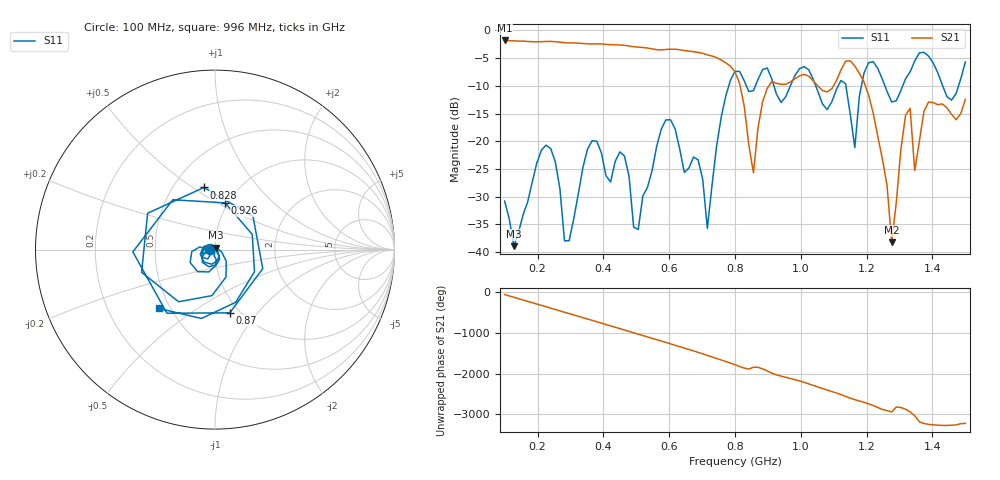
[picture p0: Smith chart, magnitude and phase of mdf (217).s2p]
! NanoVNA-App
! Date: 2025-09-25 15:40:07
! Start: 100MHz Stop: 1,5GHz Points: 101
! S-Parameter data: F S11 S21 S12 S22
# Hz S RI R 50
!  Frequency  S11_Real  S11_Imag  S21_Real  S21_Imag  S12_Real  S12_Imag  S22_Real  S22_Imag
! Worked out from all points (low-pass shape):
!   101 points, 100 MHz to 1.5 GHz, reference 50 ohm
!   highest |S21| = -1.80 dB at 100 MHz (marker M1); lowest = -38.2 dB at 1.276 GHz (marker M2)
!   |S21| within 3 dB of the highest: start of sweep to 739.2 MHz
!   lowest |S11| = -38.9 dB at 128 MHz (marker M3), VSWR 1.02, Z = 50.3 + j1.08 ohm
!   |S11| at or under -10 dB: start of sweep to 781.1 MHz; 918.3 MHz to 968.2 MHz (49.86 MHz wide, 5.29 % of centre); 1.045 GHz to 1.114 GHz (68.29 MHz wide, 6.33 % of centre) (the widest 3 of 7)
!   S12 and S22 are empty: the file has one direction only
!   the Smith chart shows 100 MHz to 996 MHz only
!   S11 on the Smith chart (normalised r, x): 100 MHz: 0.94, -0.01; 828 MHz: 0.70, +0.56; 870 MHz: 0.90, -0.73; 926 MHz: 0.97, +0.54; 996 MHz: 0.43, -0.36
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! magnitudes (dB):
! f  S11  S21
! 100 MHz  -30.8  -1.8
! 128 MHz  -38.9  -1.9
! 212 MHz  -21.6  -2.0
! 282 MHz  -38.0  -2.2
! 338 MHz  -24.7  -2.3
! 464 MHz  -22.6  -2.7
! 506 MHz  -35.9  -3.0
! 576 MHz  -17.8  -3.5
! 716 MHz  -35.7  -4.4
! 800 MHz  -7.4  -7.5
! 828 MHz  -9.1  -13.7
! 856 MHz  -10.9  -25.7
! 870 MHz  -8.8  -17.5
! 926 MHz  -11.5  -9.5
! 996 MHz  -6.9  -8.2
! 1.038 GHz  -8.8  -9.1
! 1.164 GHz  -21.1  -6.4
! 1.192 GHz  -7.7  -9.3
! 1.276 GHz  -12.9  -38.2
! 1.318 GHz  -8.7  -15.3
! 1.346 GHz  -5.5  -25.3
! 1.5 GHz  -5.7  -12.4
